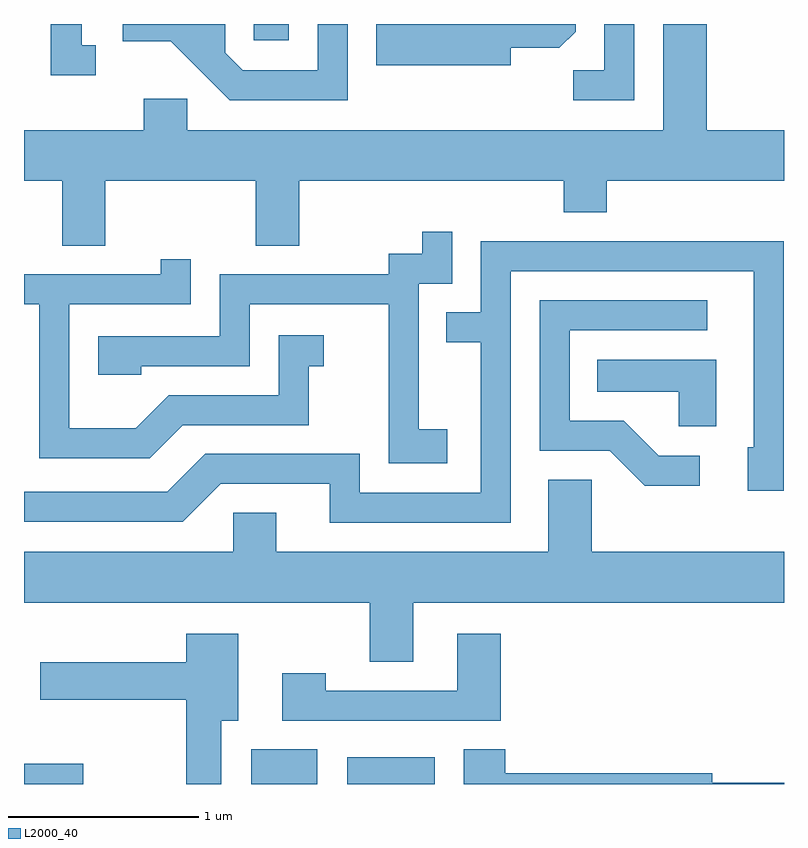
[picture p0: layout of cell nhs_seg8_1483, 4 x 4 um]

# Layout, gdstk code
import gdstk
lib = gdstk.Library(unit=1e-6, precision=1e-09)
def R(c, l, rs):  # rectangles x0, y0, x1, y1
    for r in rs: c.add(gdstk.rectangle(r[:2], r[2:], *l))
def P(c, l, *ps):  # polygons
    for p in ps: c.add(gdstk.Polygon(p, *l))
L2000_40 = (2000, 40)

nhs_seg8_1483 = lib.new_cell('nhs_seg8_1483')
R(nhs_seg8_1483, L2000_40, [(229.611,1844.342,229.924,1844.449), (230.806,1844.342,231.154,1844.524), (231.311,1844.342,231.774,1844.484), (230.821,1848.256,231.004,1848.342)])
P(nhs_seg8_1483, L2000_40, [(229.988,1848.229),(229.914,1848.229),(229.914,1848.342),(229.751,1848.342),(229.751,1848.071),(229.988,1848.071)],
  [(232.824,1848.342),(232.666,1848.342),(232.666,1848.099),(232.503,1848.099),(232.503,1847.941),(232.824,1847.941)],
  [(231.314,1848.342),(231.156,1848.342),(231.156,1848.099),(230.762,1848.099),(230.669,1848.192),(230.669,1848.342),(230.131,1848.342),(230.131,1848.251),(230.384,1848.251),(230.694,1847.941),(231.314,1847.941)],
  [(232.174,1848.216),(232.429,1848.216),(232.514,1848.302),(232.514,1848.342),(231.466,1848.342),(231.466,1848.126),(232.174,1848.126)],
  [(232.976,1848.342),(232.976,1847.784),(230.469,1847.784),(230.469,1847.949),(230.241,1847.949),(230.241,1847.784),(229.611,1847.784),(229.611,1847.516),(229.811,1847.516),(229.811,1847.176),(230.039,1847.176),(230.039,1847.516),(230.831,1847.516),(230.831,1847.176),(231.059,1847.176),(231.059,1847.516),(232.451,1847.516),(232.451,1847.351),(232.679,1847.351),(232.679,1847.516),(233.611,1847.516),(233.611,1847.784),(233.204,1847.784),(233.204,1848.342)],
  [(231.839,1846.209),(231.689,1846.209),(231.689,1846.976),(231.864,1846.976),(231.864,1847.248),(231.706,1847.248),(231.706,1847.134),(231.531,1847.134),(231.531,1847.024),(230.641,1847.024),(230.641,1846.699),(230.001,1846.699),(230.001,1846.496),(230.229,1846.496),(230.229,1846.541),(230.799,1846.541),(230.799,1846.866),(231.531,1846.866),(231.531,1846.031),(231.839,1846.031)],
  [(232.174,1847.041),(233.451,1847.041),(233.451,1846.114),(233.421,1846.114),(233.421,1845.886),(233.609,1845.886),(233.609,1847.199),(232.016,1847.199),(232.016,1846.824),(231.833,1846.824),(231.833,1846.666),(232.016,1846.666),(232.016,1845.874),(231.379,1845.874),(231.379,1846.079),(230.564,1846.079),(230.364,1845.879),(229.611,1845.879),(229.611,1845.721),(230.447,1845.721),(230.647,1845.921),(231.221,1845.921),(231.221,1845.716),(232.174,1845.716)],
  [(230.447,1846.231),(231.109,1846.231),(231.109,1846.541),(231.188,1846.541),(231.188,1846.704),(230.951,1846.704),(230.951,1846.389),(230.374,1846.389),(230.199,1846.214),(229.849,1846.214),(229.849,1846.866),(230.489,1846.866),(230.489,1847.103),(230.331,1847.103),(230.331,1847.024),(229.611,1847.024),(229.611,1846.866),(229.691,1846.866),(229.691,1846.056),(230.272,1846.056)],
  [(233.168,1846.069),(232.952,1846.069),(232.767,1846.254),(232.484,1846.254),(232.484,1846.731),(233.208,1846.731),(233.208,1846.889),(232.326,1846.889),(232.326,1846.096),(232.694,1846.096),(232.879,1845.911),(233.168,1845.911)],
  [(233.254,1846.574),(232.628,1846.574),(232.628,1846.406),(233.056,1846.406),(233.056,1846.226),(233.254,1846.226)],
  [(231.659,1845.296),(233.611,1845.296),(233.611,1845.564),(232.599,1845.564),(232.599,1845.944),(232.371,1845.944),(232.371,1845.564),(230.939,1845.564),(230.939,1845.769),(230.711,1845.769),(230.711,1845.564),(229.611,1845.564),(229.611,1845.296),(231.431,1845.296),(231.431,1844.986),(231.659,1844.986)],
  [(232.119,1845.134),(231.891,1845.134),(231.891,1844.834),(231.199,1844.834),(231.199,1844.924),(230.971,1844.924),(230.971,1844.676),(232.119,1844.676)],
  [(230.649,1844.676),(230.739,1844.676),(230.739,1845.134),(230.466,1845.134),(230.466,1844.984),(229.696,1844.984),(229.696,1844.786),(230.466,1844.786),(230.466,1844.342),(230.649,1844.342)],
  [(233.611,1844.349),(233.234,1844.349),(233.234,1844.399),(232.144,1844.399),(232.144,1844.524),(231.926,1844.524),(231.926,1844.342),(233.611,1844.342)])

lib.write_gds('nhs_seg8_1483.gds')
